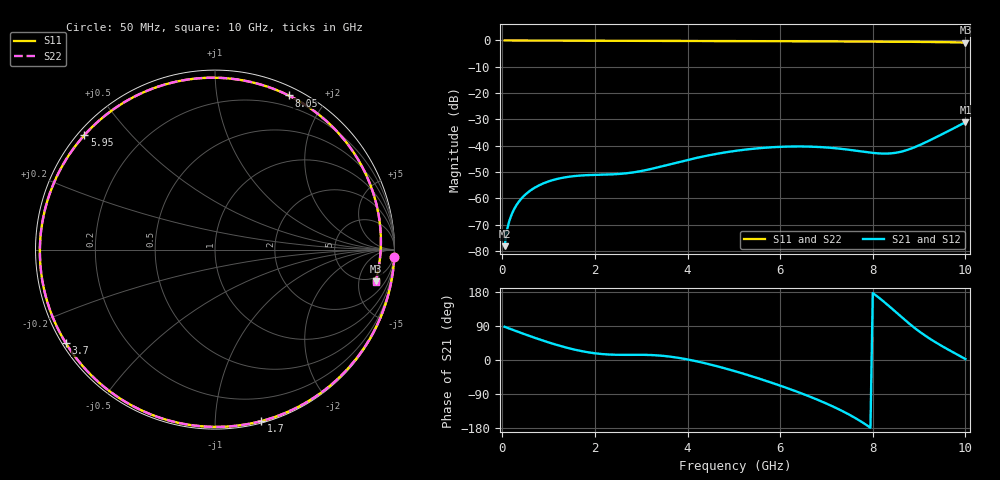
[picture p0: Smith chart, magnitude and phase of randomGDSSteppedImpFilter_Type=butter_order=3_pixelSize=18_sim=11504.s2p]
! freq	dB(S11)	phase(S11)	dB(S12)	phase(S12)
!  dB(S21)	phase(S21)	dB(S22)	phase(S22)
!S-par simulation data
#  GHz  S  DB  R 50
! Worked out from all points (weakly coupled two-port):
!   200 points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, 50 MHz to 10 GHz, reference 50 ohm
!   highest |S21| = -31.05 dB at 10 GHz (marker M1); lowest = -78.1 dB at 50 MHz (marker M2)
!   lowest |S11| = -0.8 dB at 10 GHz (marker M3), VSWR 21.75, Z = 198 - j417 ohm
!   |S11| at or under -10 dB: nowhere
!   |S22| runs from -0.8 to 0.0 dB; largest |S21 - S12| = 0
!   S11 on the Smith chart (normalised r, x): 50 MHz: 0, -49; 1.7 GHz: 0.01, -1.31; 3.7 GHz: 0.01, -0.29; 5.95 GHz: 0.02, +0.38; 8.05 GHz: 0.09, +1.58; 10 GHz: 3.96, -8.35
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0.05  -0.00 -2.3  -78.12 87.6  -78.12 87.6  -0.00 -2.3
0.1  -0.00 -4.6  -72.12 85.3  -72.12 85.3  -0.00 -4.6
0.2  -0.01 -9.2  -66.14 80.7  -66.14 80.7  -0.01 -9.2
0.35  -0.02 -16.1  -61.41 73.9  -61.41 73.9  -0.02 -16.1
0.5  -0.03 -22.9  -58.50 67.2  -58.50 67.2  -0.03 -22.9
1  -0.06 -45.2  -53.52 46.4  -53.52 46.4  -0.06 -45.2
1.7  -0.09 -74.8  -51.28 23.7  -51.28 23.7  -0.09 -74.9
1.75  -0.09 -76.9  -51.22 22.6  -51.22 22.6  -0.09 -76.9
2.5  -0.12 -105.9  -50.72 13.7  -50.72 13.7  -0.12 -106.0
3.4  -0.16 -137.8  -48.00 11.7  -48.00 11.7  -0.16 -137.9
3.7  -0.17 -147.9  -46.67 7.6  -46.67 7.6  -0.17 -148.0
4.35  -0.20 -169.3  -44.00 -7.7  -44.00 -7.7  -0.20 -169.3
5.05  -0.23 168.1  -41.89 -30.5  -41.89 -30.5  -0.23 168.1
5.95  -0.29 138.7  -40.43 -65.5  -40.43 -65.5  -0.29 138.6
6.7  -0.33 113.3  -40.35 -99.6  -40.35 -99.6  -0.33 113.2
7.4  -0.38 88.5  -41.32 -138.2  -41.32 -138.2  -0.38 88.4
8.05  -0.43 64.5  -42.77 172.2  -42.77 172.2  -0.43 64.4
8.35  -0.46 53.2  -42.93 142.3  -42.93 142.3  -0.46 53.0
8.7  -0.49 39.7  -41.82 104.9  -41.82 104.9  -0.49 39.6
9.2  -0.57 20.3  -38.19 58.7  -38.19 58.7  -0.57 20.1
9.6  -0.66 4.6  -34.69 29.4  -34.69 29.4  -0.66 4.4
10  -0.80 -11.2  -31.05 2.6  -31.05 2.6  -0.79 -11.4
